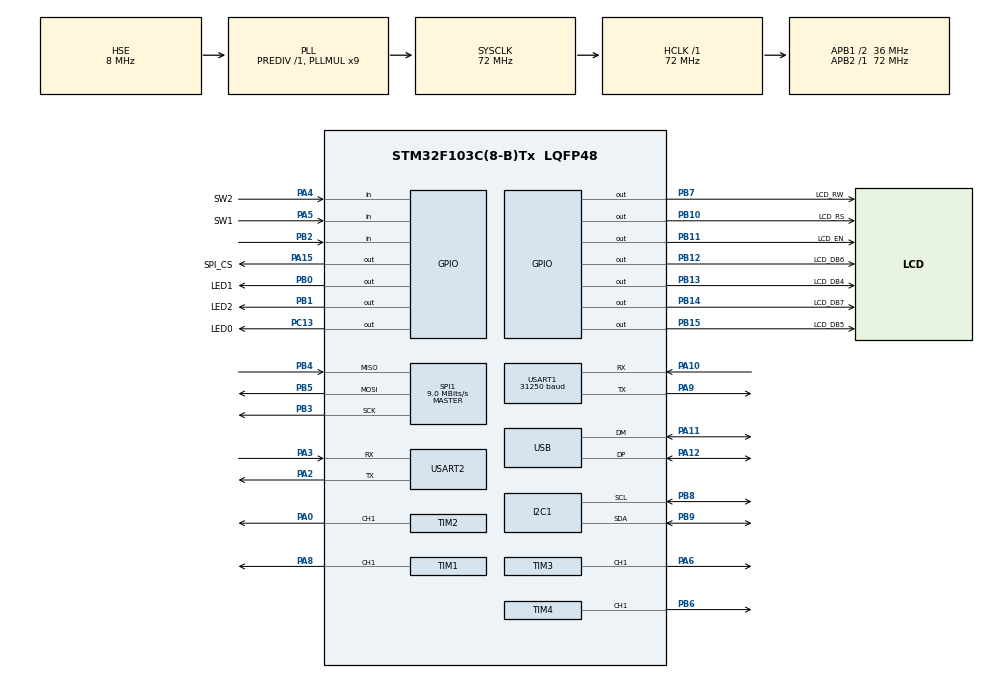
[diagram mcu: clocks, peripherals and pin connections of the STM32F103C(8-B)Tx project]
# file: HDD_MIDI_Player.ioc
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I2C1.I2C_Mode=I2C_Standard
Mcu.Family=STM32F1
Mcu.Name=STM32F103C(8-B)Tx
Mcu.Package=LQFP48
NVIC.I2C1_EV_IRQn=true\:0\:0\:false\:false\:true\:true\:true
NVIC.PriorityGroup=NVIC_PRIORITYGROUP_4
NVIC.USART1_IRQn=true\:0\:0\:false\:false\:true\:true\:true
PA0-WKUP.Signal=S_TIM2_CH1_ETR
PA10.Mode=Asynchronous
PA10.Signal=USART1_RX
PA11.Mode=Device
PA11.Signal=USB_DM
PA12.Mode=Device
PA12.Signal=USB_DP
PA13.Mode=Serial_Wire
PA13.Signal=SYS_JTMS-SWDIO
PA14.Mode=Serial_Wire
PA14.Signal=SYS_JTCK-SWCLK
PA15.GPIO_Label=SPI_CS
PA15.Signal=GPIO_Output
PA2.Mode=Asynchronous
PA2.Signal=USART2_TX
PA3.Mode=Asynchronous
PA3.Signal=USART2_RX
PA4.GPIO_Label=SW2
PA4.Signal=GPIO_Input
PA5.GPIO_Label=SW1
PA5.Signal=GPIO_Input
PA6.Signal=S_TIM3_CH1
PA8.Signal=S_TIM1_CH1
PA9.Mode=Asynchronous
PA9.Signal=USART1_TX
PB0.GPIO_Label=LED1
PB0.Signal=GPIO_Output
PB1.GPIO_Label=LED2
PB1.Signal=GPIO_Output
PB10.GPIO_Label=LCD_RS
PB10.Signal=GPIO_Output
PB11.GPIO_Label=LCD_EN
PB11.Signal=GPIO_Output
PB12.GPIO_Label=LCD_DB6
PB12.Signal=GPIO_Output
PB13.GPIO_Label=LCD_DB4
PB13.Signal=GPIO_Output
PB14.GPIO_Label=LCD_DB7
PB14.Signal=GPIO_Output
PB15.GPIO_Label=LCD_DB5
PB15.Signal=GPIO_Output
PB2.Signal=GPIO_Input
PB3.Mode=Full_Duplex_Master
PB3.Signal=SPI1_SCK
PB4.Mode=Full_Duplex_Master
PB4.Signal=SPI1_MISO
PB5.Mode=Full_Duplex_Master
PB5.Signal=SPI1_MOSI
PB6.Signal=S_TIM4_CH1
PB7.GPIO_Label=LCD_RW
PB7.Signal=GPIO_Output
PB8.Mode=I2C
PB8.Signal=I2C1_SCL
PB9.Mode=I2C
PB9.Signal=I2C1_SDA
PC13-TAMPER-RTC.GPIO_Label=LED0
PC13-TAMPER-RTC.Signal=GPIO_Output
PD0-OSC_IN.Mode=HSE-External-Oscillator
PD0-OSC_IN.Signal=RCC_OSC_IN
PD1-OSC_OUT.Mode=HSE-External-Oscillator
PD1-OSC_OUT.Signal=RCC_OSC_OUT
ProjectManager.HeapSize=0x200
ProjectManager.StackSize=0x400
ProjectManager.TargetToolchain=SW4STM32
RCC.AHBFreq_Value=72000000
RCC.APB1CLKDivider=RCC_HCLK_DIV2
RCC.APB1Freq_Value=36000000
RCC.APB1TimFreq_Value=72000000
RCC.APB2Freq_Value=72000000
RCC.APB2TimFreq_Value=72000000
RCC.HCLKFreq_Value=72000000
RCC.PLLMUL=RCC_PLL_MUL9
RCC.PLLSourceVirtual=RCC_PLLSOURCE_HSE
RCC.SYSCLKFreq_VALUE=72000000
RCC.SYSCLKSource=RCC_SYSCLKSOURCE_PLLCLK
RCC.USBFreq_Value=48000000
RCC.USBPrescaler=RCC_USBCLKSOURCE_PLL_DIV1_5
SH.S_TIM1_CH1.0=TIM1_CH1,PWM Generation1 CH1
SH.S_TIM2_CH1_ETR.0=TIM2_CH1,PWM Generation1 CH1
SH.S_TIM3_CH1.0=TIM3_CH1,PWM Generation1 CH1
SH.S_TIM4_CH1.0=TIM4_CH1,PWM Generation1 CH1
SPI1.BaudRatePrescaler=SPI_BAUDRATEPRESCALER_8
SPI1.CalculateBaudRate=9.0 MBits/s
SPI1.Direction=SPI_DIRECTION_2LINES
SPI1.Mode=SPI_MODE_MASTER
SPI1.VirtualType=VM_MASTER
TIM1.Channel-PWM\ Generation1\ CH1=TIM_CHANNEL_1
TIM2.Channel-PWM\ Generation1\ CH1=TIM_CHANNEL_1
TIM3.Channel-PWM\ Generation1\ CH1=TIM_CHANNEL_1
TIM4.Channel-PWM\ Generation1\ CH1=TIM_CHANNEL_1
USART1.BaudRate=31250
USART1.Mode=MODE_RX
USART1.VirtualMode=VM_ASYNC
USART2.VirtualMode=VM_ASYNC
board=custom

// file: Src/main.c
/* USER CODE BEGIN Header */
/**
 ******************************************************************************
 * @file           : main.c
 * @brief          : Main program body
 ******************************************************************************
 * @attention
 *
 * <h2><center>&copy; Copyright (c) 2019 STMicroelectronics.
 * All rights reserved.</center></h2>
 *
 * This software component is licensed by ST under BSD 3-Clause license,
 * the "License"; You may not use this file except in compliance with the
 * License. You may obtain a copy of the License at:
 *                        opensource.org/licenses/BSD-3-Clause
 *
 ******************************************************************************
 */
/* USER CODE END Header */

#include "main.h"
#include "i2c.h"
#include "spi.h"
#include "tim.h"
#include "usart.h"
#include "usb.h"
#include "gpio.h"

/* USER CODE BEGIN Includes */
#include "sc1602.h"
#include "midi_hdd.h"
#include "eeprom.h"
/* USER CODE END Includes */

/* USER CODE BEGIN PD */
#define DEFAULT_PROFILE 0x0000
/* USER CODE END PD */

/* USER CODE BEGIN PV */
enum OPERATION_STATE {
	OP_WAIT,
	OP_SWITCH1_BUSY,
	OP_SWITCH2_BUSY,
	OP_UPDATE_DISPLAY,
	OP_SELECT_SETTING,
	_NOP_SELECT_START,
	OP_CONTROL_VOLUME,
	OP_CHANGE_PLAY_METHOD,
	OP_SWITCH_EN_DIS_HDD,
	OP_SAVE_SETTINGS,
	OP_SYSTEM_RESET,
	OP_DISPLAY_HDD_STATE,
	_NOP_SELECT_END
};

enum SELECTION {
	NO, YES
};
/* USER CODE END PV */

void SystemClock_Config(void);
/* USER CODE BEGIN PFP */
PlayMethod PlayMethod_Config() {
	PlayMethod pm = FIXED;
	LCD_printf(1, "Play Method");
	LCD_printf(2, "> FIXED");
	while (HAL_GPIO_ReadPin(SW2_GPIO_Port, SW2_Pin)) {
		if (!HAL_GPIO_ReadPin(SW1_GPIO_Port, SW1_Pin)) {
			if (pm == FIXED) {
				pm = FLEXIBLE;
				LCD_Clear();
				LCD_printf(1, "Play Method");
				LCD_printf(2, "> FLEXIBLE");
			} else if (pm == FLEXIBLE) {
				pm = FIXED;
				LCD_Clear();
				LCD_printf(1, "Play Method");
				LCD_printf(2, "> FIXED");
			}
			while (!HAL_GPIO_ReadPin(SW1_GPIO_Port, SW1_Pin))
				;
		}

	}
	while (!HAL_GPIO_ReadPin(SW2_GPIO_Port, SW2_Pin))
		;
	return pm;
}

void HDD_Config(uint8_t* ea) {
	int i;
	for (i = 0; i < MAX_HDD_NUM; i++) {
		ea[i] = ENABLE;
		LCD_Clear();
		LCD_printf(1, "HDD/TIM:%d use?", i + 1);
		LCD_printf(2, "> ENABLE");
		while (HAL_GPIO_ReadPin(SW2_GPIO_Port, SW2_Pin)) {
			if (!HAL_GPIO_ReadPin(SW1_GPIO_Port, SW1_Pin)) {
				ea[i] = !ea[i];
				if (ea[i] == ENABLE) {
					LCD_Clear();
					LCD_printf(1, "HDD/TIM:%d use?", i + 1);
					LCD_printf(2, "> ENABLE");
				} else {
					LCD_Clear();
					LCD_printf(1, "HDD/TIM:%d use?", i + 1);
					LCD_printf(2, "> DISABLE");
				}
				while (!HAL_GPIO_ReadPin(SW1_GPIO_Port, SW1_Pin))
					;
			}
		}
		while (!HAL_GPIO_ReadPin(SW2_GPIO_Port, SW2_Pin))
			;
	}
}

void Show_HDD_Status() {
	LCD_Clear();
	LCD_Set_Position(1, 1);
	LCD_puts("HDD/TIM:");
	char s[64];
	for (int i = 0; i < MAX_HDD_NUM; i++) {
		snprintf(s, 64, "%c ", Is_HDD_Enable(i) ? 'o' : 'x');
		LCD_puts(s);
	}
	if (Get_Volume() == 100) {
		LCD_printf(2, "%-8s Vol:MAX", (Get_PlayMethod() == FIXED ? "FIXED" : "FLEXIBLE"));
	} else {
		LCD_printf(2, "%-8s Vol:%2d%%", (Get_PlayMethod() == FIXED ? "FIXED" : "FLEXIBLE"),
				Get_Volume());
	}
}

uint8_t Check_Data_Structure(DATA_STRUCTURE ds) {
	if (ds.BYTE.play_method != FIXED && ds.BYTE.play_method != FLEXIBLE) {
		return 0;
	}
	if (100 < ds.BYTE.volume) {
		return 0;
	}
	if (ds.BYTE.hdd1 != DISABLE && ds.BYTE.hdd1 != ENABLE) {
		return 0;
	}
	if (ds.BYTE.hdd2 != DISABLE && ds.BYTE.hdd2 != ENABLE) {
		return 0;
	}
	if (ds.BYTE.hdd3 != DISABLE && ds.BYTE.hdd3 != ENABLE) {
		return 0;
	}
	if (ds.BYTE.hdd4 != DISABLE && ds.BYTE.hdd4 != ENABLE) {
		return 0;
	}
	return 1;
}
/* USER CODE END PFP */

int main(void) {

	/* MCU Configuration--------------------------------------------------------*/

	/* Reset of all peripherals, Initializes the Flash interface and the Systick. */
	HAL_Init();

	/* Configure the system clock */
	SystemClock_Config();

	/* Initialize all configured peripherals */
	MX_GPIO_Init();
	MX_I2C1_Init();
	MX_TIM1_Init();
	MX_TIM2_Init();
	MX_TIM3_Init();
	MX_TIM4_Init();
	MX_USART1_UART_Init();
	MX_USART2_UART_Init();
	MX_USB_PCD_Init();
	MX_SPI1_Init();
	/* USER CODE BEGIN 2 */
	LCD_Initialize();
	LCD_Change_Mode(SYNC);
	LCD_Clear();
	LCD_printf(1, "Booting...");

	MIDI_Variable_Initialize();

	EEPROM_Initialize(&hi2c1);

	HAL_GPIO_WritePin(LED0_GPIO_Port, LED0_Pin, GPIO_PIN_SET);
	HAL_GPIO_WritePin(LED1_GPIO_Port, LED1_Pin, GPIO_PIN_RESET);
	HAL_GPIO_WritePin(LED2_GPIO_Port, LED2_Pin, GPIO_PIN_SET);

	HAL_TIM_PWM_Start(&htim1, TIM_CHANNEL_1);
	HAL_TIM_PWM_Start(&htim2, TIM_CHANNEL_1);
	HAL_TIM_PWM_Start(&htim3, TIM_CHANNEL_1);
	HAL_TIM_PWM_Start(&htim4, TIM_CHANNEL_1);

	/* System initialize */
	PlayMethod pm = FIXED;
	uint8_t ea[MAX_HDD_NUM] = { 1 };
	TIM_HandleTypeDef htims[MAX_HDD_NUM] = { htim1, htim2, htim3, htim4 };

	DATA_STRUCTURE ds = Load_Settings(DEFAULT_PROFILE, EEPROM_DATA_LEN);
	if (Check_Data_Structure(ds)) {
		pm = ds.BYTE.play_method;
		for (int i = 0; i < MAX_HDD_NUM; i++) {
			ea[i] = *(&ds.BYTE.hdd1 + i);
		}
		Change_Volume(ds.BYTE.volume);
	}
	Change_PlayMethod(pm);
	for (int hdd_num = 0; hdd_num < MAX_HDD_NUM; hdd_num++) {
		Initialize_HDD(hdd_num, htims[hdd_num], ea[hdd_num]);
	}

	HAL_UART_Receive_IT(&huart1, &megv.uart_rx_data, 1);

	Show_HDD_Status();
	LCD_Change_Mode(ASYNC);

	uint8_t volume_step = 5;
	uint8_t hdd_num;
	uint8_t volume = Get_Volume();
	enum SELECTION yes_no = NO;
	enum OPERATION_STATE op_state = OP_WAIT;
	enum OPERATION_STATE next_operation = OP_WAIT;
	enum OPERATION_STATE tmp_operation;

	/* USER CODE END 2 */

	/* Infinite loop */
	/* USER CODE BEGIN WHILE */
	while (1) {
		switch (op_state) {
		case OP_WAIT:
			if (HAL_GPIO_ReadPin(SW1_GPIO_Port, SW1_Pin) == GPIO_PIN_RESET) {
				next_operation = OP_SELECT_SETTING;
				tmp_operation = _NOP_SELECT_START;
				op_state = OP_SWITCH1_BUSY;
			}
			break;
		case OP_SELECT_SETTING:
			if (HAL_GPIO_ReadPin(SW1_GPIO_Port, SW1_Pin) == GPIO_PIN_RESET) {
				tmp_operation += 1;
				if (tmp_operation == _NOP_SELECT_END) {
					tmp_operation = _NOP_SELECT_START + 1;
				}
				op_state = OP_SWITCH1_BUSY;
				next_operation = OP_SELECT_SETTING;
			} else if (HAL_GPIO_ReadPin(SW2_GPIO_Port, SW2_Pin) == GPIO_PIN_RESET) {
				if (tmp_operation == _NOP_SELECT_START) {
					tmp_operation += 1;
					next_operation = OP_SELECT_SETTING;
				} else {
					next_operation = tmp_operation;
				}
				op_state = OP_SWITCH2_BUSY;
			}
			break;
		case OP_CONTROL_VOLUME:
			/* Adjust volume */
			if (HAL_GPIO_ReadPin(SW1_GPIO_Port, SW1_Pin) == GPIO_PIN_RESET) {
				volume =
						(volume + volume_step) > 100 ?
								volume_step : volume + volume_step;
				op_state = OP_SWITCH1_BUSY;
				next_operation = OP_CONTROL_VOLUME;
			} else if (HAL_GPIO_ReadPin(SW2_GPIO_Port, SW2_Pin) == GPIO_PIN_RESET) {
				Change_Volume(volume);
				op_state = OP_SWITCH2_BUSY;
				next_operation = OP_DISPLAY_HDD_STATE;
			}
			break;
		case OP_CHANGE_PLAY_METHOD:
			/* Alter play method */
			if (HAL_GPIO_ReadPin(SW1_GPIO_Port, SW1_Pin) == GPIO_PIN_RESET) {
				pm = (pm == FIXED ? FLEXIBLE : FIXED);
				op_state = OP_SWITCH1_BUSY;
				next_operation = OP_CHANGE_PLAY_METHOD;
			} else if (HAL_GPIO_ReadPin(SW2_GPIO_Port, SW2_Pin) == GPIO_PIN_RESET) {
				Change_PlayMethod(pm);
				op_state = OP_SWITCH2_BUSY;
				next_operation = OP_DISPLAY_HDD_STATE;
			}
			break;
		case OP_SWITCH_EN_DIS_HDD:
			/* Switch HDD Enable/Disable */
			if (HAL_GPIO_ReadPin(SW1_GPIO_Port, SW1_Pin) == GPIO_PIN_RESET) {
				hdd_num = ((hdd_num + 1) == MAX_HDD_NUM ? 0 : hdd_num + 1);
				op_state = OP_SWITCH1_BUSY;
				next_operation = OP_SWITCH_EN_DIS_HDD;
			} else if (HAL_GPIO_ReadPin(SW2_GPIO_Port, SW2_Pin) == GPIO_PIN_RESET) {
				Enable_HDD(hdd_num, (Is_HDD_Enable(hdd_num) == ENABLE ? DISABLE : ENABLE));
				op_state = OP_SWITCH2_BUSY;
				next_operation = OP_DISPLAY_HDD_STATE;
			}
			break;
		case OP_SAVE_SETTINGS:
			/* Save current settings */
			if (HAL_GPIO_ReadPin(SW1_GPIO_Port, SW1_Pin) == GPIO_PIN_RESET) {
				yes_no = (yes_no == YES) ? NO : YES;
				op_state = OP_SWITCH1_BUSY;
				next_operation = OP_SAVE_SETTINGS;
			} else if (HAL_GPIO_ReadPin(SW2_GPIO_Port, SW2_Pin) == GPIO_PIN_RESET) {
				if (yes_no == YES) {
					// TODO: Implement non-blocking mode
					Change_PlayMethod(Get_PlayMethod());	// STOP Melody
					ds.BYTE.play_method = Get_PlayMethod();
					ds.BYTE.volume = Get_Volume();
					for (int i = 0; i < MAX_HDD_NUM; i++) {
						*(&ds.BYTE.hdd1 + i) = Is_HDD_Enable(i);
					}
					ds.BYTE.addr_high = 0x00;
					ds.BYTE.addr_low = 0x00;
					Save_Settings(ds, EEPROM_DATA_STRUCTURE_LEN);
				}
				op_state = OP_SWITCH2_BUSY;
				next_operation = OP_DISPLAY_HDD_STATE;
			}
			break;
		case OP_SYSTEM_RESET:
			/* Load saved settings */
			if (HAL_GPIO_ReadPin(SW1_GPIO_Port, SW1_Pin) == GPIO_PIN_RESET) {
				yes_no = (yes_no == YES) ? NO : YES;
				op_state = OP_SWITCH1_BUSY;
				next_operation = OP_SYSTEM_RESET;
			} else if (HAL_GPIO_ReadPin(SW2_GPIO_Port, SW2_Pin) == GPIO_PIN_RESET) {
				if (yes_no == YES) {
					Change_PlayMethod(Get_PlayMethod());	// STOP Melody
					LCD_Change_Mode(SYNC);
					LCD_Clear();
					LCD_printf(1, "Reboot...");
					HAL_Delay(3000);
					HAL_NVIC_SystemReset();
					// System reset!
				}
				op_state = OP_SWITCH2_BUSY;
				next_operation = OP_DISPLAY_HDD_STATE;
			}
			break;
		case OP_DISPLAY_HDD_STATE:
			op_state = OP_UPDATE_DISPLAY;
			next_operation = OP_WAIT;
			break;
		case OP_UPDATE_DISPLAY:
			/* Update LCD Display */
			switch (next_operation) {
			case OP_WAIT:
				break;
			case OP_SELECT_SETTING:
				LCD_Clear();
				LCD_printf(1, "Select operate");

				/* OP_SELECT_SETTING START */
				switch (tmp_operation) {
				case _NOP_SELECT_START:
					LCD_printf(2, "sel:SW1 ent:SW2");
					break;
				case OP_CONTROL_VOLUME:
					LCD_printf(2, "> Control volume");
					volume = Get_Volume();
					break;
				case OP_CHANGE_PLAY_METHOD:
					LCD_printf(2, "> Alter p-method");
					pm = Get_PlayMethod();
					break;
				case OP_SWITCH_EN_DIS_HDD:
					LCD_printf(2, "> HDD en/dis");
					hdd_num = 0;
					break;
				case OP_SAVE_SETTINGS:
					LCD_printf(2, "> Save settings");
					yes_no = NO;
					break;
				case OP_SYSTEM_RESET:
					LCD_printf(2, "> System reset");
					yes_no = NO;
					break;
				case OP_DISPLAY_HDD_STATE:
					LCD_printf(2, "> Return");
					break;
				default:
					LCD_printf(2, "Error (;w;)");
					break;
				}
				/* OP_SELECT_SETTING END */
				break;
			case OP_CONTROL_VOLUME:
				LCD_Clear();
				LCD_printf(1, "Control volume");
				LCD_printf(2, "Volume %3d %%", volume);
				break;
			case OP_CHANGE_PLAY_METHOD:
				LCD_Clear();
				LCD_printf(1, "Alter PlayMethod");
				LCD_printf(2, "Method: %s", pm == FIXED ? "FIXED" : "FLEXIBLE");
				break;
			case OP_SWITCH_EN_DIS_HDD:
				LCD_Clear();
				LCD_printf(1, "Switch HDD en/dis");
				LCD_printf(2, "HDD number %d", hdd_num + 1);
				break;
			case OP_SAVE_SETTINGS:
				LCD_Clear();
				LCD_printf(1, "Save settings");
				LCD_printf(2, "save? > %s", yes_no == YES ? "YES" : "NO");
				break;
			case OP_SYSTEM_RESET:
				LCD_Clear();
				LCD_printf(1, "System reset");
				LCD_printf(2, "reset? > %s", yes_no == YES ? "YES" : "NO");
				break;
			case OP_DISPLAY_HDD_STATE:
				Show_HDD_Status();
				break;
			default:
				break;
			}
			op_state = next_operation;
			break;
		case OP_SWITCH1_BUSY:
			if (HAL_GPIO_ReadPin(SW1_GPIO_Port, SW1_Pin) == GPIO_PIN_SET) {
				op_state = OP_UPDATE_DISPLAY;
			}
			break;
		case OP_SWITCH2_BUSY:
			if (HAL_GPIO_ReadPin(SW2_GPIO_Port, SW2_Pin) == GPIO_PIN_SET) {
				op_state = OP_UPDATE_DISPLAY;
			}
			break;
		default:
			break;
		}
		LCD_Loop();

		Parse_MIDI();
		Play_MIDI();
		/* USER CODE END WHILE */

	}
}

void SystemClock_Config(void) {
	RCC_OscInitTypeDef RCC_OscInitStruct = { 0 };
	RCC_ClkInitTypeDef RCC_ClkInitStruct = { 0 };
	RCC_PeriphCLKInitTypeDef PeriphClkInit = { 0 };

	/** Initializes the CPU, AHB and APB busses clocks
	 */
	RCC_OscInitStruct.OscillatorType = RCC_OSCILLATORTYPE_HSE;
	RCC_OscInitStruct.HSEState = RCC_HSE_ON;
	RCC_OscInitStruct.HSEPredivValue = RCC_HSE_PREDIV_DIV1;
	RCC_OscInitStruct.HSIState = RCC_HSI_ON;
	RCC_OscInitStruct.PLL.PLLState = RCC_PLL_ON;
	RCC_OscInitStruct.PLL.PLLSource = RCC_PLLSOURCE_HSE;
	RCC_OscInitStruct.PLL.PLLMUL = RCC_PLL_MUL9;
	if (HAL_RCC_OscConfig(&RCC_OscInitStruct) != HAL_OK) {
		Error_Handler();
	}
	/** Initializes the CPU, AHB and APB busses clocks
	 */
	RCC_ClkInitStruct.ClockType = RCC_CLOCKTYPE_HCLK | RCC_CLOCKTYPE_SYSCLK | RCC_CLOCKTYPE_PCLK1
			| RCC_CLOCKTYPE_PCLK2;
	RCC_ClkInitStruct.SYSCLKSource = RCC_SYSCLKSOURCE_PLLCLK;
	RCC_ClkInitStruct.AHBCLKDivider = RCC_SYSCLK_DIV1;
	RCC_ClkInitStruct.APB1CLKDivider = RCC_HCLK_DIV2;
	RCC_ClkInitStruct.APB2CLKDivider = RCC_HCLK_DIV1;

	if (HAL_RCC_ClockConfig(&RCC_ClkInitStruct, FLASH_LATENCY_2) != HAL_OK) {
		Error_Handler();
	}
	PeriphClkInit.PeriphClockSelection = RCC_PERIPHCLK_USB;
	PeriphClkInit.UsbClockSelection = RCC_USBCLKSOURCE_PLL_DIV1_5;
	if (HAL_RCCEx_PeriphCLKConfig(&PeriphClkInit) != HAL_OK) {
		Error_Handler();
	}
}

/* USER CODE BEGIN 4 */
void HAL_UART_RxCpltCallback(UART_HandleTypeDef *huart) {
	if (megv.uart_rx_data == 0xFE) {
		/* Through active sensing */
		// Prepare for next RX interrupt
		HAL_UART_Receive_IT(huart, &megv.uart_rx_data, 1);
		return;
	}
	HAL_GPIO_TogglePin(LED2_GPIO_Port, LED2_Pin);
	megv.Buffer[megv.rxp] = megv.uart_rx_data;
	megv.rxp = AddCounter(megv.rxp, RAW_DATA_BUF_LEN);

	//Prepare for next RX interrupt
	HAL_UART_Receive_IT(huart, &megv.uart_rx_data, 1);
}
/* USER CODE END 4 */

void Error_Handler(void) {
}

/************************ (C) COPYRIGHT STMicroelectronics *****END OF FILE****/
